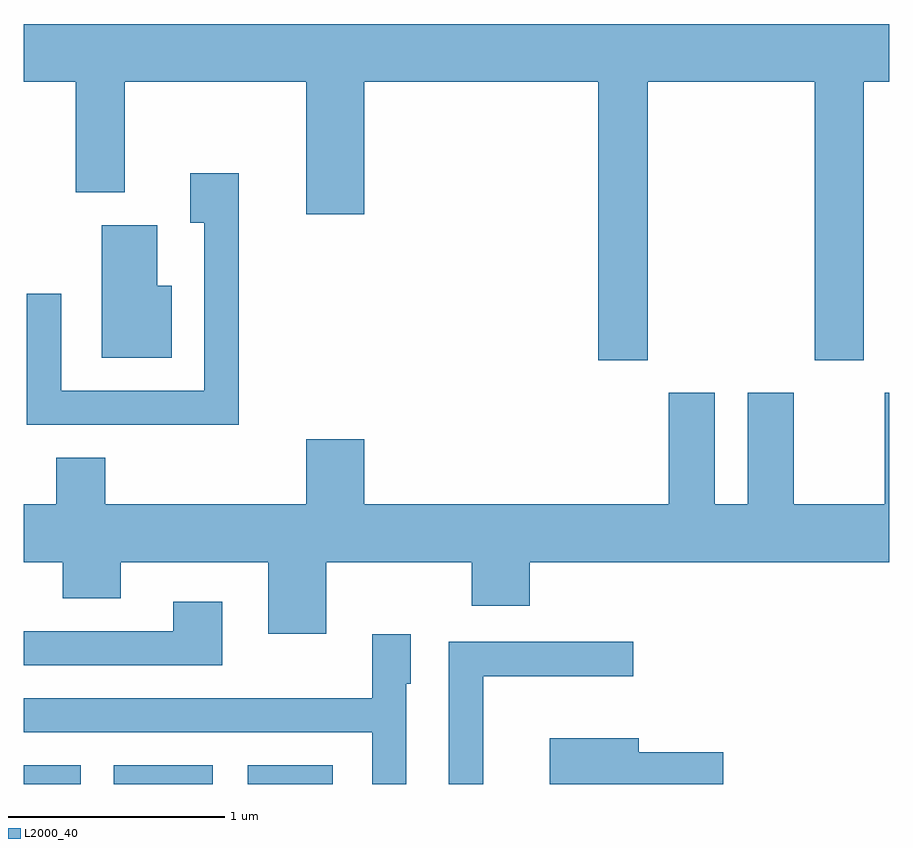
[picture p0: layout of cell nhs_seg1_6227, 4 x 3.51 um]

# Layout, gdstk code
import gdstk
lib = gdstk.Library(unit=1e-6, precision=1e-09)
def R(c, l, rs):  # rectangles x0, y0, x1, y1
    for r in rs: c.add(gdstk.rectangle(r[:2], r[2:], *l))
def P(c, l, *ps):  # polygons
    for p in ps: c.add(gdstk.Polygon(p, *l))
L2000_40 = (2000, 40)

nhs_seg1_6227 = lib.new_cell('nhs_seg1_6227')
R(nhs_seg1_6227, L2000_40, [(373.611,849.712,373.874,849.799), (374.026,849.712,374.484,849.799), (374.646,849.712,375.039,849.799)])
P(nhs_seg1_6227, L2000_40, [(376.494,852.956),(377.266,852.956),(377.266,851.671),(377.494,851.671),(377.494,852.956),(377.611,852.956),(377.611,853.224),(373.611,853.224),(373.611,852.956),(373.851,852.956),(373.851,852.446),(374.079,852.446),(374.079,852.956),(374.916,852.956),(374.916,852.346),(375.184,852.346),(375.184,852.956),(376.266,852.956),(376.266,851.671),(376.494,851.671)],
  [(374.604,852.534),(374.381,852.534),(374.381,852.306),(374.446,852.306),(374.446,851.529),(373.784,851.529),(373.784,851.978),(373.626,851.978),(373.626,851.371),(374.604,851.371)],
  [(374.294,852.014),(374.229,852.014),(374.229,852.294),(373.971,852.294),(373.971,851.681),(374.294,851.681)],
  [(373.761,851.219),(373.761,851.004),(373.611,851.004),(373.611,850.736),(373.791,850.736),(373.791,850.571),(374.059,850.571),(374.059,850.736),(374.741,850.736),(374.741,850.406),(375.009,850.406),(375.009,850.736),(375.681,850.736),(375.681,850.536),(375.949,850.536),(375.949,850.736),(377.611,850.736),(377.611,851.519),(377.591,851.519),(377.591,851.004),(377.169,851.004),(377.169,851.519),(376.956,851.519),(376.956,851.004),(376.804,851.004),(376.804,851.519),(376.591,851.519),(376.591,851.004),(375.184,851.004),(375.184,851.304),(374.916,851.304),(374.916,851.004),(373.989,851.004),(373.989,851.219)],
  [(374.529,850.554),(374.301,850.554),(374.301,850.419),(373.611,850.419),(373.611,850.261),(374.529,850.261)],
  [(375.379,850.176),(375.399,850.176),(375.399,850.404),(375.221,850.404),(375.221,850.109),(373.611,850.109),(373.611,849.951),(375.221,849.951),(375.221,849.712),(375.379,849.712)],
  [(375.734,850.211),(376.428,850.211),(376.428,850.369),(375.576,850.369),(375.576,849.712),(375.734,849.712)],
  [(376.844,849.859),(376.454,849.859),(376.454,849.924),(376.041,849.924),(376.041,849.712),(376.844,849.712)])

lib.write_gds('nhs_seg1_6227.gds')
